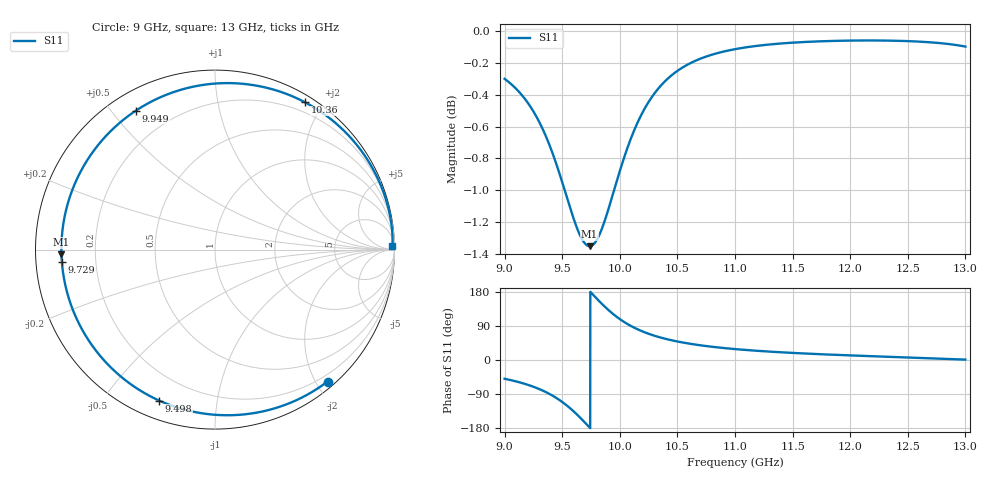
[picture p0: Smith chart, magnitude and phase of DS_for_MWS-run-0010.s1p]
! TOUCHSTONE file generated by CST DESIGN STUDIO
! Date and time: Tue Feb  4 18:10:26 2025
! Project name: C:\Work\MatlabApps\UnitCellOptimizationMatlab\CST\unitcell.cst
! Tree item: Tasks\Sweep1\SPara1\S-Parameters
! Header version: 2024
! Port assignment regex: !\s*Touchstone port\s*([0-9]+)\s*=\s*(CST MWS port|CST DES external port|CST DES block port)\s*(.+)\s* \(\"(.*)\"\)(\s*mode\s*([0-9]+))?.*
! Touchstone port assignment:
! Touchstone port 1 = CST DES external port 1 ("")
# GHz S MA R 50
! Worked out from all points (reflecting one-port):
!   4001 points, 9 GHz to 13 GHz, reference 50 ohm
!   lowest |S11| = -1.4 dB at 9.738 GHz (marker M1), VSWR 12.88, Z = 3.88 - j0.792 ohm
!   phase of S11 starts at -50 deg and turns -309 deg over the sweep
!   S11 on the Smith chart (normalised r, x): 9 GHz: 0.10, -2.16; 9.498 GHz: 0.08, -0.69; 9.729 GHz: 0.08, -0.04; 9.949 GHz: 0.08, +0.58; 10.36 GHz: 0.08, +1.78; 13 GHz: 49, +80
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9  0.9661 -49.5
9.138  0.9558 -59.6
9.265  0.9415 -72.3
9.397  0.9194 -90.8
9.45  0.9081 -100.3
9.498  0.8969 -110.2
9.5  0.8965 -110.7
9.555  0.8832 -123.7
9.609  0.871 -138.2
9.673  0.8601 -157.4
9.729  0.856 -175.3
9.738  0.8559 -178.2
9.782  0.8578 167.6
9.829  0.864 152.8
9.89  0.8765 135.0
9.949  0.891 119.6
10  0.9037 108.0
10.079  0.9217 92.8
10.176  0.9395 78.1
10.265  0.9519 67.6
10.362  0.9618 58.6
10.5  0.9716 48.8
10.718  0.9808 38.0
11  0.987 28.8
11.5  0.9917 18.7
12  0.9932 12.1
12.5  0.9928 6.8
13  0.9889 1.0
